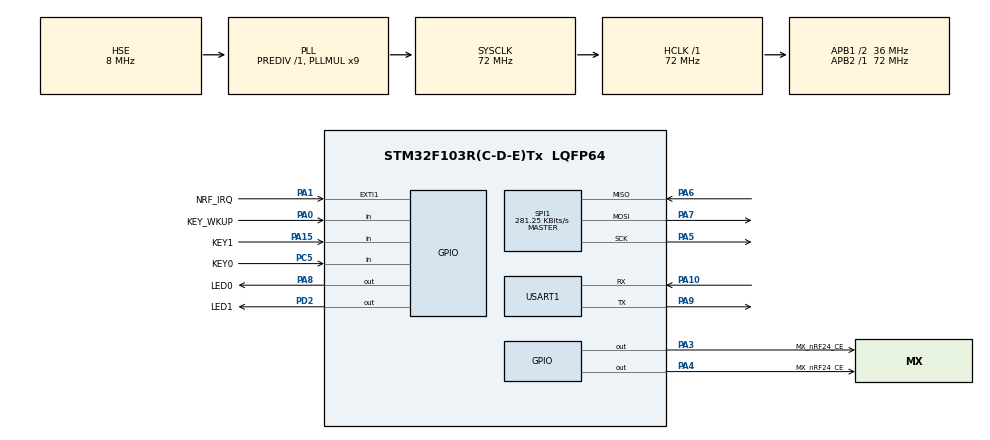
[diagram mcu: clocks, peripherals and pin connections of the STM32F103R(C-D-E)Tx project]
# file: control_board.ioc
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Mcu.Family=STM32F1
Mcu.Name=STM32F103R(C-D-E)Tx
Mcu.Package=LQFP64
NVIC.EXTI1_IRQn=true\:0\:0\:false\:false\:true\:true\:true\:true
NVIC.PriorityGroup=NVIC_PRIORITYGROUP_2
NVIC.SPI1_IRQn=true\:0\:0\:false\:false\:true\:true\:true\:true
NVIC.USART1_IRQn=true\:1\:0\:true\:false\:true\:true\:true\:true
PA0-WKUP.GPIO_Label=KEY_WKUP
PA0-WKUP.GPIO_PuPd=GPIO_PULLDOWN
PA0-WKUP.Signal=GPIO_Input
PA1.GPIO_Label=NRF_IRQ
PA1.GPIO_ModeDefaultEXTI=GPIO_MODE_IT_FALLING
PA1.Signal=GPXTI1
PA10.Mode=Asynchronous
PA10.Signal=USART1_RX
PA13.Mode=Serial_Wire
PA13.Signal=SYS_JTMS-SWDIO
PA14.Mode=Serial_Wire
PA14.Signal=SYS_JTCK-SWCLK
PA15.GPIO_Label=KEY1
PA15.GPIO_PuPd=GPIO_PULLUP
PA15.Signal=GPIO_Input
PA3.GPIO_Label=MX_nRF24_CE
PA3.GPIO_Speed=GPIO_SPEED_FREQ_HIGH
PA3.Signal=GPIO_Output
PA4.GPIO_Label=MX_nRF24_CE
PA4.GPIO_Speed=GPIO_SPEED_FREQ_HIGH
PA4.Signal=GPIO_Output
PA5.Mode=Full_Duplex_Master
PA5.Signal=SPI1_SCK
PA6.Mode=Full_Duplex_Master
PA6.Signal=SPI1_MISO
PA7.Mode=Full_Duplex_Master
PA7.Signal=SPI1_MOSI
PA8.GPIO_Label=LED0
PA8.GPIO_Speed=GPIO_SPEED_FREQ_HIGH
PA8.PinState=GPIO_PIN_RESET
PA8.Signal=GPIO_Output
PA9.Mode=Asynchronous
PA9.Signal=USART1_TX
PC5.GPIO_Label=KEY0
PC5.GPIO_PuPd=GPIO_PULLUP
PC5.Signal=GPIO_Input
PD0-OSC_IN.Mode=HSE-External-Oscillator
PD0-OSC_IN.Signal=RCC_OSC_IN
PD1-OSC_OUT.Mode=HSE-External-Oscillator
PD1-OSC_OUT.Signal=RCC_OSC_OUT
PD2.GPIO_Label=LED1
PD2.GPIO_Speed=GPIO_SPEED_FREQ_HIGH
PD2.PinState=GPIO_PIN_RESET
PD2.Signal=GPIO_Output
ProjectManager.HeapSize=0x200
ProjectManager.StackSize=0x400
ProjectManager.TargetToolchain=STM32CubeIDE
RCC.AHBFreq_Value=72000000
RCC.APB1CLKDivider=RCC_HCLK_DIV2
RCC.APB1Freq_Value=36000000
RCC.APB1TimFreq_Value=72000000
RCC.APB2Freq_Value=72000000
RCC.APB2TimFreq_Value=72000000
RCC.HCLKFreq_Value=72000000
RCC.PLLMUL=RCC_PLL_MUL9
RCC.PLLSourceVirtual=RCC_PLLSOURCE_HSE
RCC.SYSCLKFreq_VALUE=72000000
RCC.SYSCLKSource=RCC_SYSCLKSOURCE_PLLCLK
RCC.USBFreq_Value=72000000
SPI1.BaudRatePrescaler=SPI_BAUDRATEPRESCALER_256
SPI1.CalculateBaudRate=281.25 KBits/s
SPI1.Direction=SPI_DIRECTION_2LINES
SPI1.Mode=SPI_MODE_MASTER
SPI1.VirtualType=VM_MASTER
TIM1.AutoReloadPreload=TIM_AUTORELOAD_PRELOAD_DISABLE
TIM1.Prescaler=71
USART1.VirtualMode=VM_ASYNC
VP_TIM1_VS_ClockSourceINT.Mode=Internal
board=custom

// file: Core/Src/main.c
/* USER CODE BEGIN Header */
/**
  ******************************************************************************
  * @file           : main.c
  * @brief          : Main program body
  ******************************************************************************
  * @attention
  *
  * Copyright (c) 2024 STMicroelectronics.
  * All rights reserved.
  *
  * This software is licensed under terms that can be found in the LICENSE file
  * in the root directory of this software component.
  * If no LICENSE file comes with this software, it is provided AS-IS.
  *
  ******************************************************************************
  */
/* USER CODE END Header */
#include "main.h"
#include "spi.h"
#include "tim.h"
#include "usart.h"
#include "gpio.h"

/* USER CODE BEGIN Includes */
#include "lcd_v4.h"
#include "24l01.h"
#include "utils.h"
#include "touch.h"
#include "24cxx.h"
#include "stdbool.h"
//#include "images.h"

/* USER CODE END Includes */

/* USER CODE BEGIN PV */
uint8_t arrow_status[7] = {RELEASED};//5 stop 6 le 7 ri
int mode = 1;//0: control   1:draw   2:auto
uint8_t grid_status[16] = {0};
uint8_t path[32] = {-1};
int pnt = 0;
uint32_t lastTime = 0;
uint32_t debounceTime = -1;
uint32_t time_threshold = 70;
int signal = 0;
unsigned char DATA_TO_SEND[800];
int last_x = -1;
int last_y = -1;
int start_point = 0;//0:empty 1:choosed 2:setted
int end_point = 0;//0:empty 1:choosed 2:setted
int trap_point = 0;//0:empty 1:choosed 2:setted
int move_signal = 0;//0:still 1:move
int control = 0;//0:empty 1:choosed 2:setted
int debounceLabel = 0;//0:没按过 1:第一次按了
uint8_t distance = 0;
uint8_t display_distance = 0;
uint8_t nrf_rx_buf[32];

uint8_t obstacle_pos[2];
uint8_t clearing_pos[2];
uint8_t main_pos[2];
uint8_t get_obstacle = 0;
uint8_t get_clearing = 0;
uint8_t get_main = 0;
uint8_t get_main_back = 0;
int trace_flag = 0;

extern const unsigned char left_red[3120];
extern const unsigned char obstacle[3420];

/* USER CODE END PV */

void SystemClock_Config(void);

/* USER CODE BEGIN 0 */
//extern UART_HandleTypeDef huart1;
extern uint8_t rxBuffer[20];
/* USER CODE END 0 */

int main(void)
{

  /* MCU Configuration--------------------------------------------------------*/

  /* Reset of all peripherals, Initializes the Flash interface and the Systick. */
  HAL_Init();

  /* Configure the system clock */
  SystemClock_Config();

  /* Initialize all configured peripherals */
  MX_GPIO_Init();
  MX_SPI1_Init();
  MX_TIM1_Init();
  MX_USART1_UART_Init();
  /* USER CODE BEGIN 2 */
  HAL_TIM_Base_Start(&htim1);
//  HAL_UART_Receive_IT(&huart1, (uint8_t *)rxBuffer, 1);
  lcd_init();
  tp_dev.init();
  NRF24L01_Init();

  // Checking NRF24L01 hardware
  while (NRF24L01_Check()) {
		lcd_show_string(30, 130, 200, 16, 16, "NRF24L01 Error", RED);
		HAL_Delay(200);
		lcd_fill(30, 130, 239, 130+16, WHITE);
		HAL_Delay(200);
  }

  // Testing data transmission to/from the car board
  test_communication();

//  lcd_show_string(20, 20, 200, 16, 16, "Distance:", BLUE);

  NRF24L01_RX_Mode();

  draw_mode_selection_panel();
  draw_control_panel();

  uint16_t t = 0;
  uint16_t x_touch, y_touch;

  uint8_t nop[32];
  for (uint8_t i = 0; i < 32; i++) {
	  nop[i] = -1;
  }

  //init
  for (int i = 0; i < 32; i++) {
      path[i] = -1;
  }
  /* USER CODE END 2 */

  /* Infinite loop */
  while (1)
  {

    /* USER CODE BEGIN 3 */
	  // scan the touch
	  tp_dev.scan(0);
	  // if the screen is touched
	  if (tp_dev.sta & TP_PRES_DOWN) {//触摸屏被按下
		  x_touch = tp_dev.x[0];
		  y_touch = tp_dev.y[0];
		  // if the touch coordinate is valid
		  if (x_touch < lcddev.width && y_touch < lcddev.height) {
			  mode_switch_panel(x_touch, y_touch);
			  switch(mode){
				  case 0:
					  mode_control(x_touch, y_touch, 1);
					  break;
				  case 1:
					  mode_route(x_touch, y_touch, 1);
					  break;
				  case 2:
					  mode_auto(x_touch, y_touch);
					  break;
			  }
		  }
	  } else { // if the screen is not touched
		  //TODO debounce
		  GPIO_PinState start = HAL_GPIO_ReadPin(KEY0_GPIO_Port, KEY0_Pin);
		  if(start == GPIO_PIN_RESET)
		  {
			HAL_Delay(35);
			GPIO_PinState after = HAL_GPIO_ReadPin(KEY0_GPIO_Port, KEY0_Pin);
			if(after == GPIO_PIN_RESET){
			  if (start_point == 1){
				  start_point = 2;
				  sprintf(DATA_TO_SEND, "start setted\n");
				  HAL_UART_Transmit(&huart1, (uint8_t*)DATA_TO_SEND, strlen(DATA_TO_SEND), HAL_MAX_DELAY);
			  }else if (end_point == 1){
				  end_point = 2;
				  sprintf(DATA_TO_SEND, "end setted\n");
				  HAL_UART_Transmit(&huart1, (uint8_t*)DATA_TO_SEND, strlen(DATA_TO_SEND), HAL_MAX_DELAY);
			  }else if (trap_point == 1){
				  trap_point = 0;//cause more than one trap to set
				  sprintf(DATA_TO_SEND, "trap setted\n");
				  HAL_UART_Transmit(&huart1, (uint8_t*)DATA_TO_SEND, strlen(DATA_TO_SEND), HAL_MAX_DELAY);
			  }else if (control == 1){
				  control = 0;//reset to choose s/e/t mode
				  sprintf(DATA_TO_SEND, "route setted\n");
				  HAL_UART_Transmit(&huart1, (uint8_t*)DATA_TO_SEND, strlen(DATA_TO_SEND), HAL_MAX_DELAY);
			  }
			}
		  }
		  start = HAL_GPIO_ReadPin(KEY1_GPIO_Port, KEY1_Pin);
		  if(start == GPIO_PIN_RESET)
		  {
			HAL_Delay(35);
			GPIO_PinState after = HAL_GPIO_ReadPin(KEY1_GPIO_Port, KEY1_Pin);
			if(after == GPIO_PIN_RESET){
			  move_signal = 1;
			  sprintf(DATA_TO_SEND, "moving!\n");
			  HAL_UART_Transmit(&huart1, (uint8_t*)DATA_TO_SEND, strlen(DATA_TO_SEND), HAL_MAX_DELAY);
			}
		  }
		  //KEY_WKUP
		  start = HAL_GPIO_ReadPin(KEY_WKUP_GPIO_Port, KEY_WKUP_Pin);
		  if(start == GPIO_PIN_SET)
		  {
			HAL_Delay(35);
			GPIO_PinState after = HAL_GPIO_ReadPin(KEY_WKUP_GPIO_Port,KEY_WKUP_Pin);
			if(after == GPIO_PIN_SET){
				for (int i = 0; i < 32; i++) {
					path[i] = -1;
				}
				last_x = -1;
				last_y = -1;
				for(int i = 0; i < 4; i++){
					for(int j = 0; j < 4; j++){
						int index = (4*j) + i;
						if(grid_status[index] == 1){
							grid_status[index] = 0;
							//0 up / 1 down / 2 left / 3 right
							lcd_fill( 20+(50*i), 10+(50*j), 20+(50*i)+50, 10+(50*j)+50, WHITE);
							//lcd_draw_rectangle(uint16_t x1, uint16_t y1, uint16_t x2, uint16_t y2, uint16_t color)
							lcd_draw_rectangle(20+(50*i), 10+(50*j), 20+(50*i)+50, 10+(50*j)+50, BLACK);
						}else if(grid_status[index] == 2 || grid_status[index] == 3){
							lcd_fill( 20+(50*i), 10+(50*j), 20+(50*i)+50, 10+(50*j)+50, WHITE);
							//lcd_draw_rectangle(uint16_t x1, uint16_t y1, uint16_t x2, uint16_t y2, uint16_t color)
							lcd_draw_rectangle(20+(50*i), 10+(50*j), 20+(50*i)+50, 10+(50*j)+50, BLACK);
							lcd_update_endpoint(i, j);
						}
					}
				}
				sprintf(DATA_TO_SEND, "clear route\n");
				HAL_UART_Transmit(&huart1, (uint8_t*)DATA_TO_SEND, strlen(DATA_TO_SEND), HAL_MAX_DELAY);
			}
		  }

		  switch(mode){
			  case 0:
				  mode_control(x_touch, y_touch, 0);
				  break;
			  case 1:
				  mode_route(x_touch, y_touch, 0);
				  break;
		  }

	  }

	  t++;
	  if (t == 15000) {
		  t = 0;
		  // 时不时刷新一下，防止NRF24L01罢工
		  uint8_t sta = NRF24L01_Read_Reg(STATUS);
		  NRF24L01_Write_Reg(NRF_WRITE_REG+STATUS, sta);
		  NRF24L01_Write_Reg(FLUSH_TX,0xff);
		  NRF24L01_Write_Reg(FLUSH_RX,0xff);
		  HAL_GPIO_TogglePin(LED1_GPIO_Port, LED1_Pin);
	  }
	  if (get_obstacle) {
		  LCD_ShowPicture(20+(50*obstacle_pos[0])+2, 10+(50*obstacle_pos[1])+2, 38, 45, obstacle);
		  get_obstacle = 0;
	  }
	  if (get_clearing) {
		  LCD_ShowPicture(20+(50*clearing_pos[0])+2, 10+(50*clearing_pos[1])+2, 39, 40, left_red);
		  get_clearing = 0;
	  }
	  if (get_main) {
		  Draw_Big_Point(20+(50*main_pos[0])+2, 10+(50*main_pos[1])+2, BLUE);
		  Draw_Big_Point(20+(50*main_pos[0])+4, 10+(50*main_pos[1])+2, BLUE);
		  Draw_Big_Point(20+(50*main_pos[0])+2, 10+(50*main_pos[1])+4, BLUE);
		  Draw_Big_Point(20+(50*main_pos[0])+4, 10+(50*main_pos[1])+4, BLUE);
		  get_main = 0;
	  }
	  if (get_main_back) {
		  Draw_Big_Point(20+(50*main_pos[0])+2, 10+(50*main_pos[1])+2, RED);
		  Draw_Big_Point(20+(50*main_pos[0])+4, 10+(50*main_pos[1])+2, RED);
		  Draw_Big_Point(20+(50*main_pos[0])+2, 10+(50*main_pos[1])+4, RED);
		  Draw_Big_Point(20+(50*main_pos[0])+4, 10+(50*main_pos[1])+4, RED);
		  get_main_back = 0;
	  }
	  // Display distance
	  if (display_distance) {
		  lcd_fill(0, 0, 24, 16, WHITE);
		  lcd_show_num(0, 0, distance, 3, 16, BLUE);
		  display_distance = 0;
	  }
  }
  /* USER CODE END 3 */
}

void SystemClock_Config(void)
{
  RCC_OscInitTypeDef RCC_OscInitStruct = {0};
  RCC_ClkInitTypeDef RCC_ClkInitStruct = {0};

  /** Initializes the RCC Oscillators according to the specified parameters
  * in the RCC_OscInitTypeDef structure.
  */
  RCC_OscInitStruct.OscillatorType = RCC_OSCILLATORTYPE_HSE;
  RCC_OscInitStruct.HSEState = RCC_HSE_ON;
  RCC_OscInitStruct.HSEPredivValue = RCC_HSE_PREDIV_DIV1;
  RCC_OscInitStruct.HSIState = RCC_HSI_ON;
  RCC_OscInitStruct.PLL.PLLState = RCC_PLL_ON;
  RCC_OscInitStruct.PLL.PLLSource = RCC_PLLSOURCE_HSE;
  RCC_OscInitStruct.PLL.PLLMUL = RCC_PLL_MUL9;
  if (HAL_RCC_OscConfig(&RCC_OscInitStruct) != HAL_OK)
  {
    Error_Handler();
  }

  /** Initializes the CPU, AHB and APB buses clocks
  */
  RCC_ClkInitStruct.ClockType = RCC_CLOCKTYPE_HCLK|RCC_CLOCKTYPE_SYSCLK
                              |RCC_CLOCKTYPE_PCLK1|RCC_CLOCKTYPE_PCLK2;
  RCC_ClkInitStruct.SYSCLKSource = RCC_SYSCLKSOURCE_PLLCLK;
  RCC_ClkInitStruct.AHBCLKDivider = RCC_SYSCLK_DIV1;
  RCC_ClkInitStruct.APB1CLKDivider = RCC_HCLK_DIV2;
  RCC_ClkInitStruct.APB2CLKDivider = RCC_HCLK_DIV1;

  if (HAL_RCC_ClockConfig(&RCC_ClkInitStruct, FLASH_LATENCY_2) != HAL_OK)
  {
    Error_Handler();
  }
}

void Error_Handler(void)
{
  __disable_irq();
  while (1)
  {
  }
}
